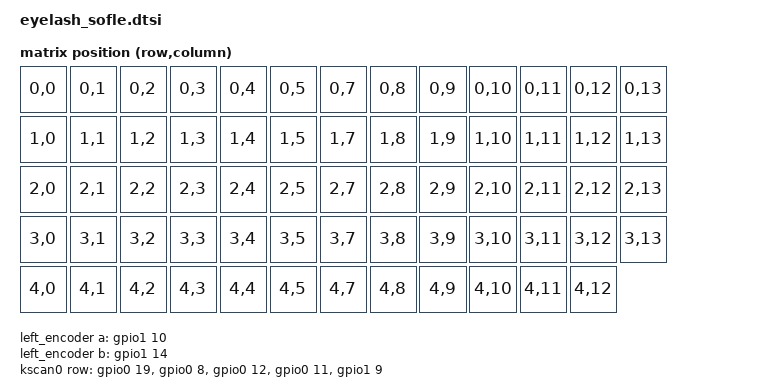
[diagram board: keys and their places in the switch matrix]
/*
 *
 * Copyright (c) 2021 Darryl deHaan
 * SPDX-License-Identifier: MIT
 *
 */

#include <dt-bindings/led/led.h>
#include <dt-bindings/zmk/matrix_transform.h>

#include "eyelash_sofle-layouts.dtsi"

/ {
    chosen {
        zmk,kscan = &kscan0;
        zmk,battery = &vbatt;
        zmk,underglow = &led_strip;
        zmk,physical-layout = &eyelash_sofle_layout;
        zmk,backlight = &backlight;
    };

	left_encoder: encoder_left {
		compatible = "alps,ec11";
		steps = <40>;
        a-gpios = <&gpio1 10 (GPIO_ACTIVE_HIGH | GPIO_PULL_UP)>;
	    b-gpios = <&gpio1 14 (GPIO_ACTIVE_HIGH | GPIO_PULL_UP)>;
		status = "disabled";
	};

    sensors: sensors {
        compatible = "zmk,keymap-sensors";
        sensors = <&left_encoder>;
    };

    kscan0: kscan {
        compatible = "zmk,kscan-gpio-matrix";
        wakeup-source;
        diode-direction = "col2row";
        row-gpios
            = <&gpio0 19 (GPIO_ACTIVE_HIGH | GPIO_PULL_DOWN)>
            , <&gpio0 8 (GPIO_ACTIVE_HIGH | GPIO_PULL_DOWN)>
            , <&gpio0 12 (GPIO_ACTIVE_HIGH | GPIO_PULL_DOWN)>
            , <&gpio0 11 (GPIO_ACTIVE_HIGH | GPIO_PULL_DOWN)>
            , <&gpio1 9 (GPIO_ACTIVE_HIGH | GPIO_PULL_DOWN)>
            ;
    };

    default_transform: keymap_transform_0 {
        compatible = "zmk,matrix-transform";
        columns = <14>;
        rows = <5>;
        map = <
            RC(0,0) RC(0,1) RC(0,2) RC(0,3) RC(0,4) RC(0,5)  RC(0,7) RC(0,8) RC(0,9) RC(0,10) RC(0,11) RC(0,12) RC(0,13)
            RC(1,0) RC(1,1) RC(1,2) RC(1,3) RC(1,4) RC(1,5)  RC(1,7) RC(1,8) RC(1,9) RC(1,10) RC(1,11) RC(1,12) RC(1,13)
            RC(2,0) RC(2,1) RC(2,2) RC(2,3) RC(2,4) RC(2,5)  RC(2,7) RC(2,8) RC(2,9) RC(2,10) RC(2,11) RC(2,12) RC(2,13)
            RC(3,0) RC(3,1) RC(3,2) RC(3,3) RC(3,4) RC(3,5)  RC(3,7) RC(3,8) RC(3,9) RC(3,10) RC(3,11) RC(3,12) RC(3,13)
            RC(4,0) RC(4,1) RC(4,2) RC(4,3) RC(4,4) RC(4,5)  RC(4,7) RC(4,8) RC(4,9) RC(4,10) RC(4,11) RC(4,12)
        >;
    };

    ext-power {
        compatible = "zmk,ext-power-generic";
        control-gpios = <&gpio0 13 GPIO_ACTIVE_HIGH>;
        init-delay-ms = <50>;
    };

    vbatt: vbatt {
        compatible = "zmk,battery-nrf-vddh";
        init-delay-ms = <50>;
    };

    backlight: pwmleds {
        compatible = "pwm-leds";
        pwm_led_0 {
            pwms = <&pwm0 0 PWM_MSEC(1) PWM_POLARITY_NORMAL>;
        };
    };
};

&pinctrl {
    spi3_default: spi3_default {
        group1 {
            psels = <NRF_PSEL(SPIM_MOSI, 1, 12)>;
        };
    };

    spi3_sleep: spi3_sleep {
        group1 {
            psels = <NRF_PSEL(SPIM_MOSI, 1, 12)>;
            low-power-enable;
        };
    };

    spi0_default: spi0_default {
        group1 {
            psels = <NRF_PSEL(SPIM_SCK, 0, 20)>,
                <NRF_PSEL(SPIM_MOSI, 0, 17)>,
                <NRF_PSEL(SPIM_MISO, 0, 25)>;
        };
    };

    spi0_sleep: spi0_sleep {
        group1 {
            psels = <NRF_PSEL(SPIM_SCK, 0, 20)>,
                <NRF_PSEL(SPIM_MOSI, 0, 17)>,
                <NRF_PSEL(SPIM_MISO, 0, 25)>;
            low-power-enable;
        };
    };

    pwm0_default: pwm0_default {
        group1 {
            psels = <NRF_PSEL(PWM_OUT0, 1, 13)>;
        };
    };
    pwm0_sleep: pwm0_sleep {
        group1 {
            psels = <NRF_PSEL(PWM_OUT0, 1, 13)>;
            low-power-enable;
        };
    };
};

&spi3 {
    compatible = "nordic,nrf-spim";
    status = "okay";

    pinctrl-0 = <&spi3_default>;
    pinctrl-1 = <&spi3_sleep>;
    pinctrl-names = "default", "sleep";

    led_strip: ws2812@0 {
        compatible = "worldsemi,ws2812-spi";
        reg = <0>;
        spi-max-frequency = <4000000>;
        chain-length = <7>;
        spi-one-frame = <0x70>;
        spi-zero-frame = <0x40>;
        color-mapping = <LED_COLOR_ID_GREEN LED_COLOR_ID_RED LED_COLOR_ID_BLUE>;
    };
};

&pwm0 {
    status = "okay";
    pinctrl-0 = <&pwm0_default>;
    pinctrl-1 = <&pwm0_sleep>;
    pinctrl-names = "default", "sleep";
};

zephyr_udc0: &usbd {
    compatible = "nordic,nrf-usbd";
    status = "okay";
};

nice_view_spi: &spi0 {
    compatible = "nordic,nrf-spim";
    pinctrl-0 = <&spi0_default>;
    pinctrl-1 = <&spi0_sleep>;
    pinctrl-names = "default", "sleep";
    cs-gpios = <&gpio0 6 GPIO_ACTIVE_HIGH>;
};

/* Enable HV regulator for radio */
&reg0 {
    status = "okay";
};
